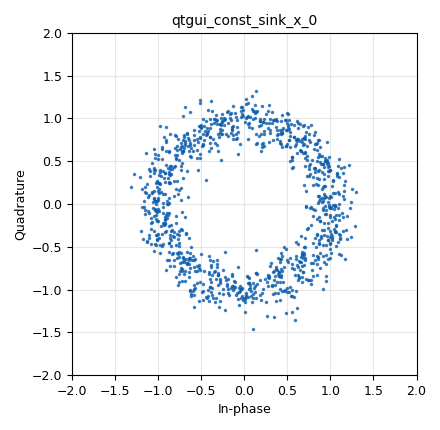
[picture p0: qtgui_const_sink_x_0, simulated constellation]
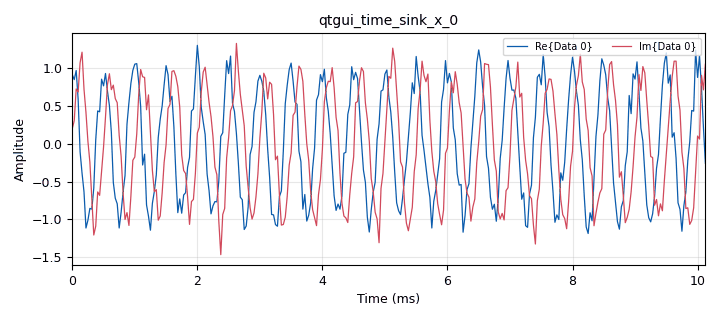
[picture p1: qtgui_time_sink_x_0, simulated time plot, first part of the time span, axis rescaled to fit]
<?xml version='1.0' encoding='utf-8'?>
<?grc format='1' created='3.7.10'?>
<flow_graph>
<block>
<key>options</key>
<param><key>id</key><value>top_block</value></param>
<param><key>generate_options</key><value>qt_gui</value></param>
</block>
<block>
<key>variable_qtgui_range</key>
<param><key>id</key><value>noise</value></param>
<param><key>value</key><value>.2</value></param>
<param><key>label</key><value>noise</value></param>
<param><key>orient</key><value>Qt.Horizontal</value></param>
<param><key>start</key><value>0</value></param>
<param><key>step</key><value>.01</value></param>
<param><key>stop</key><value>1</value></param>
</block>
<block>
<key>variable</key>
<param><key>id</key><value>samp_rate</value></param>
<param><key>value</key><value>32000</value></param>
</block>
<block>
<key>analog_noise_source_x</key>
<param><key>id</key><value>analog_noise_source_x_0</value></param>
<param><key>amp</key><value>noise</value></param>
<param><key>noise_type</key><value>analog.GR_GAUSSIAN</value></param>
<param><key>type</key><value>complex</value></param>
<param><key>seed</key><value>0</value></param>
</block>
<block>
<key>blocks_add_xx</key>
<param><key>id</key><value>blocks_add_xx_0</value></param>
<param><key>type</key><value>complex</value></param>
</block>
<block>
<key>blocks_vector_source_x</key>
<param><key>id</key><value>blocks_vector_source_x_0</value></param>
<param><key>type</key><value>complex</value></param>
<param><key>repeat</key><value>True</value></param>
<param><key>vector</key><value>np.exp(1j*2*np.pi*np.arange(16)/16)</value></param>
</block>
<block>
<key>import</key>
<param><key>id</key><value>import_0</value></param>
<param><key>import</key><value>import numpy as np</value></param>
</block>
<block>
<key>qtgui_const_sink_x</key>
<param><key>id</key><value>qtgui_const_sink_x_0</value></param>
<param><key>grid</key><value>True</value></param>
<param><key>size</key><value>1024</value></param>
<param><key>type</key><value>complex</value></param>
</block>
<block>
<key>qtgui_time_sink_x</key>
<param><key>id</key><value>qtgui_time_sink_x_0</value></param>
<param><key>color1</key><value>"blue"</value></param>
<param><key>label1</key><value></value></param>
<param><key>color2</key><value>"red"</value></param>
<param><key>label2</key><value></value></param>
<param><key>size</key><value>1024</value></param>
<param><key>srate</key><value>samp_rate</value></param>
<param><key>type</key><value>complex</value></param>
</block>
<connection><source_block_id>analog_noise_source_x_0</source_block_id><sink_block_id>blocks_add_xx_0</sink_block_id><source_key>0</source_key><sink_key>1</sink_key></connection>
<connection><source_block_id>blocks_add_xx_0</source_block_id><sink_block_id>qtgui_const_sink_x_0</sink_block_id><source_key>0</source_key><sink_key>0</sink_key></connection>
<connection><source_block_id>blocks_add_xx_0</source_block_id><sink_block_id>qtgui_time_sink_x_0</sink_block_id><source_key>0</source_key><sink_key>0</sink_key></connection>
<connection><source_block_id>blocks_vector_source_x_0</source_block_id><sink_block_id>blocks_add_xx_0</sink_block_id><source_key>0</source_key><sink_key>0</sink_key></connection>
</flow_graph>
